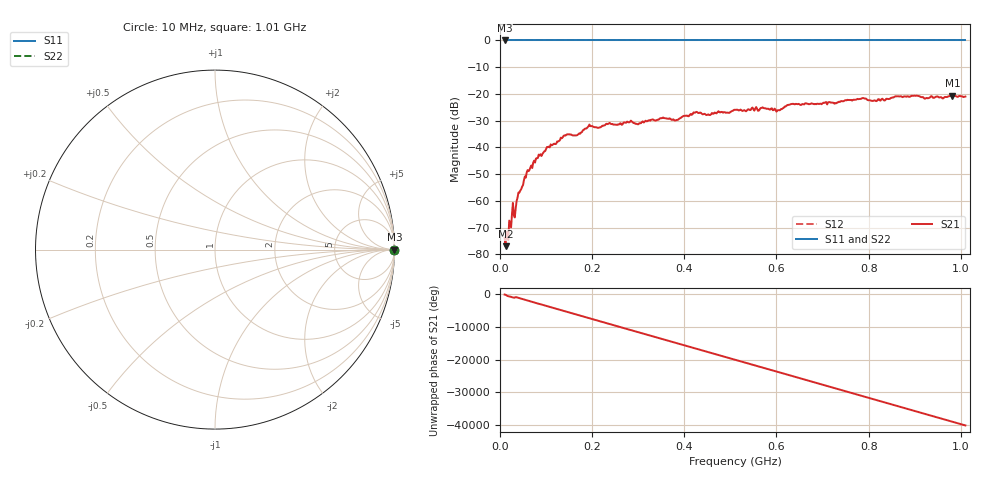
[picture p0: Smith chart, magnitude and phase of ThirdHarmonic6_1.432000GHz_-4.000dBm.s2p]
! 8/16/2025 4:30:50 PM
! C:\ANRITSUVNA\TEMP\TEMP.S2P
! CHANNEL.1
! TR.MEASUREMENT
! RAW.DATA
! RF.CORRECTION.OFF
! AVERAGING.OFF
! IF.BANDWIDTH: 5KHZ
! SWEEPTYPE:  FREQ.SWEEP(Linear)
! Reference Plane Port Info
! PORT:  PORT1  PORT2
! DISTANCE:  0  m  0  m
! TIME:  0  s  0  s
! PHASE.OFFSET:  0  deg.  0  deg.
! LOSS:  0  dB  0  dB
! REF.LOSS:  0  dB  0  dB
! REF.FREQ:  0  Hz  0  Hz
! Power Info
! POWER:  -20  dBm  -20  dBm
! EFF.POWER:  -20  dBm  -20  dBm
! SOURCE.ATTEN:  0  dB  0  dB
! TEST.ATTEN:  0  dB  0  dB
# GHZ S RI R 50.0
! FREQ.GHZ  S11RE  S11IM  S21RE  S21IM  S12RE  S12IM  S22RE  S22IM
!; PortSelection: Port_12
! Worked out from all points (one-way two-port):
!   501 points, 10 MHz to 1.01 GHz, reference 50 ohm
!   highest |S21| = -20.64 dB at 982 MHz (marker M1); lowest = -77.0 dB at 12 MHz (marker M2)
!   lowest |S11| = 0.0 dB at 10 MHz (marker M3)
!   |S11| at or under -10 dB: nowhere
!   |S22| runs from 0.0 to 0.0 dB; largest |S21 - S12| = 1.1
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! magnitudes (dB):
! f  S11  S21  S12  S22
! 10 MHz  0.0  -73.8  0.0  0.0
! 12 MHz  0.0  -77.0  0.0  0.0
! 14 MHz  0.0  -71.6  0.0  0.0
! 20 MHz  0.0  -67.4  0.0  0.0
! 24 MHz  0.0  -70.0  0.0  0.0
! 34 MHz  0.0  -63.0  0.0  0.0
! 40 MHz  0.0  -56.9  0.0  0.0
! 56 MHz  0.0  -51.3  0.0  0.0
! 76 MHz  0.0  -45.7  0.0  0.0
! 142 MHz  0.0  -35.6  0.0  0.0
! 178 MHz  0.0  -34.2  0.0  0.0
! 196 MHz  0.0  -32.1  0.0  0.0
! 344 MHz  0.0  -29.7  0.0  0.0
! 382 MHz  0.0  -29.9  0.0  0.0
! 424 MHz  0.0  -27.0  0.0  0.0
! 510 MHz  0.0  -25.9  0.0  0.0
! 604 MHz  0.0  -26.1  0.0  0.0
! 632 MHz  0.0  -23.8  0.0  0.0
! 678 MHz  0.0  -23.6  0.0  0.0
! 844 MHz  0.0  -21.9  0.0  0.0
! 982 MHz  0.0  -20.6  0.0  0.0
! 1.01 GHz  0.0  -21.0  0.0  0.0
